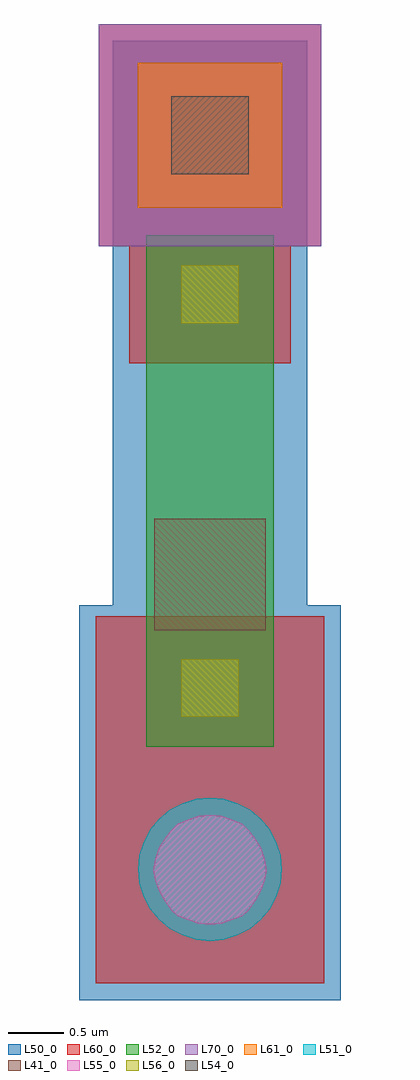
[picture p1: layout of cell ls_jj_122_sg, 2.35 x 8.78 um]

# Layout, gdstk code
import gdstk
lib = gdstk.Library(unit=1e-6, precision=1e-09)
def R(c, l, rs):  # rectangles x0, y0, x1, y1
    for r in rs: c.add(gdstk.rectangle(r[:2], r[2:], *l))
def P(c, l, *ps):  # polygons
    for p in ps: c.add(gdstk.Polygon(p, *l))
L41_0 = (41, 0)
L50_0 = (50, 0)
L51_0 = (51, 0)
L52_0 = (52, 0)
L54_0 = (54, 0)
L55_0 = (55, 0)
L56_0 = (56, 0)
L60_0 = (60, 0)
L61_0 = (61, 0)
L70_0 = (70, 0)

ls_conn_m5m6m7 = lib.new_cell('ls_conn_M5M6M7')
R(ls_conn_m5m6m7, L50_0, [(-0.5,-0.5,1.2,1.2)])
R(ls_conn_m5m6m7, L54_0, [(0,0,0.7,0.7)])
R(ls_conn_m5m6m7, L60_0, [(-0.65,-0.65,1.35,1.35)])
R(ls_conn_m5m6m7, L61_0, [(-0.3,-0.3,1,1)])
R(ls_conn_m5m6m7, L70_0, [(-0.65,-0.65,1.35,1.35)])

ls_jj_122_sg = lib.new_cell('ls_jj_122_sg')
R(ls_jj_122_sg, L41_0, [(-0.5,2.15,0.5,3.15)])
R(ls_jj_122_sg, L50_0, [(-1.175,-1.175,1.175,2.375), (-0.875,2.375,0.875,7.45)])
P(ls_jj_122_sg, L51_0, [(0,-0.645),(0.125,-0.635),(0.245,-0.595),(0.36,-0.535),(0.455,-0.455),(0.535,-0.36),(0.595,-0.245),(0.635,-0.125),(0.645,0),(0.635,0.125),(0.595,0.245),(0.535,0.36),(0.455,0.455),(0.36,0.535),(0.245,0.595),(0.125,0.635),(0,0.645),(-0.125,0.635),(-0.245,0.595),(-0.36,0.535),(-0.455,0.455),(-0.535,0.36),(-0.595,0.245),(-0.635,0.125),(-0.645,0),(-0.635,-0.125),(-0.595,-0.245),(-0.535,-0.36),(-0.455,-0.455),(-0.36,-0.535),(-0.245,-0.595),(-0.125,-0.635)])
R(ls_jj_122_sg, L52_0, [(-0.575,1.1,0.575,5.7)])
P(ls_jj_122_sg, L55_0, [(0,-0.5),(0.1,-0.49),(0.19,-0.46),(0.29,-0.42),(0.35,-0.37),(0.41,-0.28),(0.46,-0.19),(0.49,-0.1),(0.51,-0.01),(0.49,0.09),(0.46,0.19),(0.41,0.27),(0.35,0.35),(0.29,0.41),(0.19,0.45),(0.1,0.48),(0,0.49),(-0.1,0.48),(-0.19,0.45),(-0.29,0.41),(-0.35,0.35),(-0.41,0.27),(-0.46,0.19),(-0.49,0.09),(-0.51,-0.01),(-0.49,-0.1),(-0.46,-0.19),(-0.41,-0.28),(-0.35,-0.37),(-0.29,-0.42),(-0.19,-0.46),(-0.1,-0.49)])
R(ls_jj_122_sg, L56_0, [(-0.26,1.37,0.26,1.89), (-0.26,4.91,0.26,5.43)])
R(ls_jj_122_sg, L60_0, [(-1.025,-1.025,1.025,2.275), (-0.725,4.55,0.725,7.3)])
ls_jj_122_sg.add(gdstk.Reference(ls_conn_m5m6m7, (-0.35,6.25)))

lib.write_gds('ls_jj_122_sg.gds')
